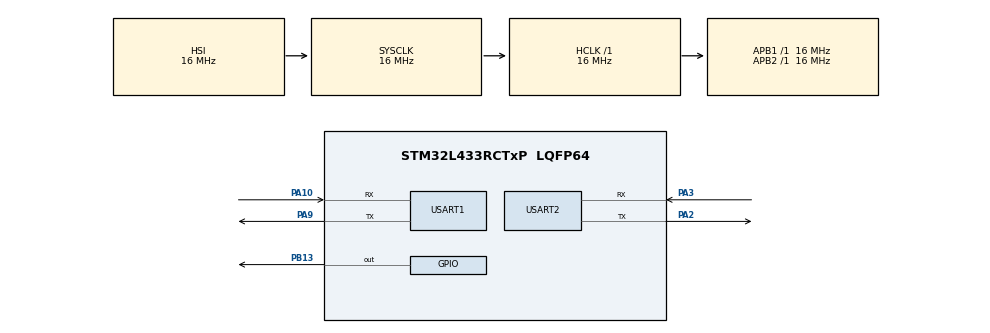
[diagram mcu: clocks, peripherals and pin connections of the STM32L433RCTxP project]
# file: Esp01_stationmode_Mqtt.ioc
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Mcu.Family=STM32L4
Mcu.Name=STM32L433RCTxP
Mcu.Package=LQFP64
NVIC.PriorityGroup=NVIC_PRIORITYGROUP_4
NVIC.USART1_IRQn=true\:0\:0\:false\:false\:true\:true\:true\:true
PA10.Mode=Asynchronous
PA10.Signal=USART1_RX
PA2.Mode=Asynchronous
PA2.Signal=USART2_TX
PA3.Mode=Asynchronous
PA3.Signal=USART2_RX
PA9.Mode=Asynchronous
PA9.Signal=USART1_TX
PB13.Signal=GPIO_Output
ProjectManager.HeapSize=0x200
ProjectManager.StackSize=0x400
ProjectManager.TargetToolchain=STM32CubeIDE
RCC.AHBFreq_Value=16000000
RCC.APB1Freq_Value=16000000
RCC.APB1TimFreq_Value=16000000
RCC.APB2Freq_Value=16000000
RCC.APB2TimFreq_Value=16000000
RCC.CortexFreq_Value=16000000
RCC.HCLKFreq_Value=16000000
RCC.HSE_VALUE=8000000
RCC.HSI48_VALUE=48000000
RCC.HSI_VALUE=16000000
RCC.LSE_VALUE=32768
RCC.MSI_VALUE=4000000
RCC.SYSCLKFreq_VALUE=16000000
RCC.SYSCLKSource=RCC_SYSCLKSOURCE_HSI
RCC.VCOOutputFreq_Value=32000000
USART1.VirtualMode-Asynchronous=VM_ASYNC
USART2.VirtualMode-Asynchronous=VM_ASYNC
board=custom

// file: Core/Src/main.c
/* USER CODE BEGIN Header */
/**
  ******************************************************************************
  * @file           : main.c
  * @brief          : Main program body
  ******************************************************************************
  * @attention
  *
  * Copyright (c) 2025 STMicroelectronics.
  * All rights reserved.
  *
  * This software is licensed under terms that can be found in the LICENSE file
  * in the root directory of this software component.
  * If no LICENSE file comes with this software, it is provided AS-IS.
  *
  ******************************************************************************
  */
/* USER CODE END Header */
#include "main.h"

/* USER CODE BEGIN Includes */
#include <string.h>
#include <stdio.h>
#include <stdbool.h>
/* USER CODE END Includes */

UART_HandleTypeDef huart1;
UART_HandleTypeDef huart2;

void SystemClock_Config(void);
static void MX_GPIO_Init(void);
static void MX_USART1_UART_Init(void);
static void MX_USART2_UART_Init(void);

/* USER CODE BEGIN 0 */
//char rxBuffer[500];
uint8_t rxIndex = 0;
void esp01_send(char *cmd, uint32_t delay);
void send_esp(const char *cmd);
int send_esp_wait(const char *cmd, const char *expected, uint32_t timeout_ms);
void UART_StartReceive(void);
uint8_t rxData,count=0,flag=0;           // single byte receive
unsigned char rxBuffer[200];       // message buffer

/* USER CODE END 0 */

int main(void)
{

  /* MCU Configuration--------------------------------------------------------*/

  /* Reset of all peripherals, Initializes the Flash interface and the Systick. */
  HAL_Init();

  /* Configure the system clock */
  SystemClock_Config();

  /* Initialize all configured peripherals */
  MX_GPIO_Init();
  MX_USART1_UART_Init();
  MX_USART2_UART_Init();
  /* USER CODE BEGIN 2 */
  UART_StartReceive();
  send_esp_wait("AT\r\n","OK",1500);   // Check ESP ready
////  HAL_UART_Receive_IT(&huart1, &rxData, 1);
  send_esp_wait("AT+RST\r\n","OK",1500);// Restart
  send_esp_wait("AT+CWMODE=1\r\n","OK", 2500); // Set WiFi Station mode
  send_esp_wait("AT+CWJAP=\"Nord\",\"12345678\"\r\n","OK", 10000); // Connect WiFi (big delay needed!)

  send_esp_wait("AT+MQTTUSERCFG=0,1,\"ESPAakash\",\"\",\"\",0,0,\"\"\r\n","OK", 4000); // MQTT user config
  send_esp_wait("AT+MQTTCONN=0,\"test.mosquitto.org\",1883,0\r\n","OK", 10000); // Connect MQTT broker
  send_esp_wait("AT+MQTTSUB=0,\"stm32/led\",1\r\n","OK", 2000); // Subscribe topic
   // Publish test message

  /* USER CODE END 2 */

  /* Infinite loop */
  /* USER CODE BEGIN WHILE */
  while (1)
  {
	  count++;
	  flag=1;
      	if (strstr((char*)rxBuffer, "ON\r\n"))
      	{
      			HAL_GPIO_WritePin(GPIOB, GPIO_PIN_13, 1);
      	}
      	else if (strstr((char*)rxBuffer, "OFF\r\n"))
        	{
        			HAL_GPIO_WritePin(GPIOB, GPIO_PIN_13, 0);
        	}

//	send_esp_wait("AT+MQTTPUB=0,\"stm32/led\",\"ON\",1,0\r\n","OK", 2000);
//	HAL_Delay(2000);
//	HAL_GPIO_WritePin(GPIOB, GPIO_PIN_13, 0);
//	send_esp_wait("AT+MQTTPUB=0,\"stm32/led\",\"OFF\",1,0\r\n","OK", 2000);
//	HAL_Delay(2000);

    /* USER CODE END WHILE */

  }
}

void SystemClock_Config(void)
{
  RCC_OscInitTypeDef RCC_OscInitStruct = {0};
  RCC_ClkInitTypeDef RCC_ClkInitStruct = {0};

  /** Configure the main internal regulator output voltage
  */
  if (HAL_PWREx_ControlVoltageScaling(PWR_REGULATOR_VOLTAGE_SCALE1) != HAL_OK)
  {
    Error_Handler();
  }

  /** Initializes the RCC Oscillators according to the specified parameters
  * in the RCC_OscInitTypeDef structure.
  */
  RCC_OscInitStruct.OscillatorType = RCC_OSCILLATORTYPE_HSI;
  RCC_OscInitStruct.HSIState = RCC_HSI_ON;
  RCC_OscInitStruct.HSICalibrationValue = RCC_HSICALIBRATION_DEFAULT;
  RCC_OscInitStruct.PLL.PLLState = RCC_PLL_NONE;
  if (HAL_RCC_OscConfig(&RCC_OscInitStruct) != HAL_OK)
  {
    Error_Handler();
  }

  /** Initializes the CPU, AHB and APB buses clocks
  */
  RCC_ClkInitStruct.ClockType = RCC_CLOCKTYPE_HCLK|RCC_CLOCKTYPE_SYSCLK
                              |RCC_CLOCKTYPE_PCLK1|RCC_CLOCKTYPE_PCLK2;
  RCC_ClkInitStruct.SYSCLKSource = RCC_SYSCLKSOURCE_HSI;
  RCC_ClkInitStruct.AHBCLKDivider = RCC_SYSCLK_DIV1;
  RCC_ClkInitStruct.APB1CLKDivider = RCC_HCLK_DIV1;
  RCC_ClkInitStruct.APB2CLKDivider = RCC_HCLK_DIV1;

  if (HAL_RCC_ClockConfig(&RCC_ClkInitStruct, FLASH_LATENCY_0) != HAL_OK)
  {
    Error_Handler();
  }
}

static void MX_USART1_UART_Init(void)
{

  huart1.Instance = USART1;
  huart1.Init.BaudRate = 115200;
  huart1.Init.WordLength = UART_WORDLENGTH_8B;
  huart1.Init.StopBits = UART_STOPBITS_1;
  huart1.Init.Parity = UART_PARITY_NONE;
  huart1.Init.Mode = UART_MODE_TX_RX;
  huart1.Init.HwFlowCtl = UART_HWCONTROL_NONE;
  huart1.Init.OverSampling = UART_OVERSAMPLING_16;
  huart1.Init.OneBitSampling = UART_ONE_BIT_SAMPLE_DISABLE;
  huart1.AdvancedInit.AdvFeatureInit = UART_ADVFEATURE_NO_INIT;
  if (HAL_UART_Init(&huart1) != HAL_OK)
  {
    Error_Handler();
  }

}

static void MX_USART2_UART_Init(void)
{

  huart2.Instance = USART2;
  huart2.Init.BaudRate = 115200;
  huart2.Init.WordLength = UART_WORDLENGTH_8B;
  huart2.Init.StopBits = UART_STOPBITS_1;
  huart2.Init.Parity = UART_PARITY_NONE;
  huart2.Init.Mode = UART_MODE_TX_RX;
  huart2.Init.HwFlowCtl = UART_HWCONTROL_NONE;
  huart2.Init.OverSampling = UART_OVERSAMPLING_16;
  huart2.Init.OneBitSampling = UART_ONE_BIT_SAMPLE_DISABLE;
  huart2.AdvancedInit.AdvFeatureInit = UART_ADVFEATURE_NO_INIT;
  if (HAL_UART_Init(&huart2) != HAL_OK)
  {
    Error_Handler();
  }

}

static void MX_GPIO_Init(void)
{
  GPIO_InitTypeDef GPIO_InitStruct = {0};

  /* GPIO Ports Clock Enable */
  __HAL_RCC_GPIOA_CLK_ENABLE();
  __HAL_RCC_GPIOB_CLK_ENABLE();

  /*Configure GPIO pin Output Level */
  HAL_GPIO_WritePin(GPIOB, GPIO_PIN_13, GPIO_PIN_RESET);

  /*Configure GPIO pin : PB13 */
  GPIO_InitStruct.Pin = GPIO_PIN_13;
  GPIO_InitStruct.Mode = GPIO_MODE_OUTPUT_PP;
  GPIO_InitStruct.Pull = GPIO_NOPULL;
  GPIO_InitStruct.Speed = GPIO_SPEED_FREQ_LOW;
  HAL_GPIO_Init(GPIOB, &GPIO_InitStruct);

}

/* USER CODE BEGIN 4 */
void UART_StartReceive(void) {
    HAL_UART_Receive_IT(&huart1, &rxData, 1);
}
void esp01_send(char *cmd, uint32_t delay_ms) {
    HAL_UART_Transmit(&huart1, (uint8_t*)cmd, strlen(cmd), HAL_MAX_DELAY);
    HAL_Delay(delay_ms);
      // simple delay before next command
}
void send_esp(const char *cmd) {
    HAL_UART_Transmit(&huart1, (uint8_t*)cmd, strlen(cmd), 100);
}
void HAL_UART_RxCpltCallback(UART_HandleTypeDef *huart)
{
    if (huart->Instance == USART1)
    {
        if (rxIndex < sizeof(rxBuffer) - 1) {
            rxBuffer[rxIndex++] = rxData;
            rxBuffer[rxIndex] = '\0'; // keep it null terminated
        }

        if(flag == 1)
        {
        	if (strstr((char*)rxBuffer, "\r\n")) {
            // Parse topic & payload here
            printf("MQTT Message: %s\r\n", rxBuffer);
            rxIndex = 0; // reset after processing
//            memset(rxBuffer, 0, sizeof(rxBuffer));
        }
        }

        HAL_UART_Receive_IT(&huart1, &rxData, 1); // restart interrupt
    }
}
int send_esp_wait(const char *cmd, const char *expected, uint32_t timeout_ms) {
    char *ptr;
    rxIndex = 0;              // clear buffer
    memset(rxBuffer, 0, sizeof(rxBuffer)); //SEt TO ZERO VALUE

    send_esp(cmd);            // send AT command

    uint32_t tickstart = HAL_GetTick();
        while ((HAL_GetTick() - tickstart) < timeout_ms) {
            ptr = strstr((char *)rxBuffer, expected);
            if (ptr != NULL) {
            	printf("%s",rxBuffer);
                return 1; // Found expected response
            }
    }
    return 0; // timeout
}

/* USER CODE END 4 */

void Error_Handler(void)
{
  __disable_irq();
  while (1)
  {
  }
}
